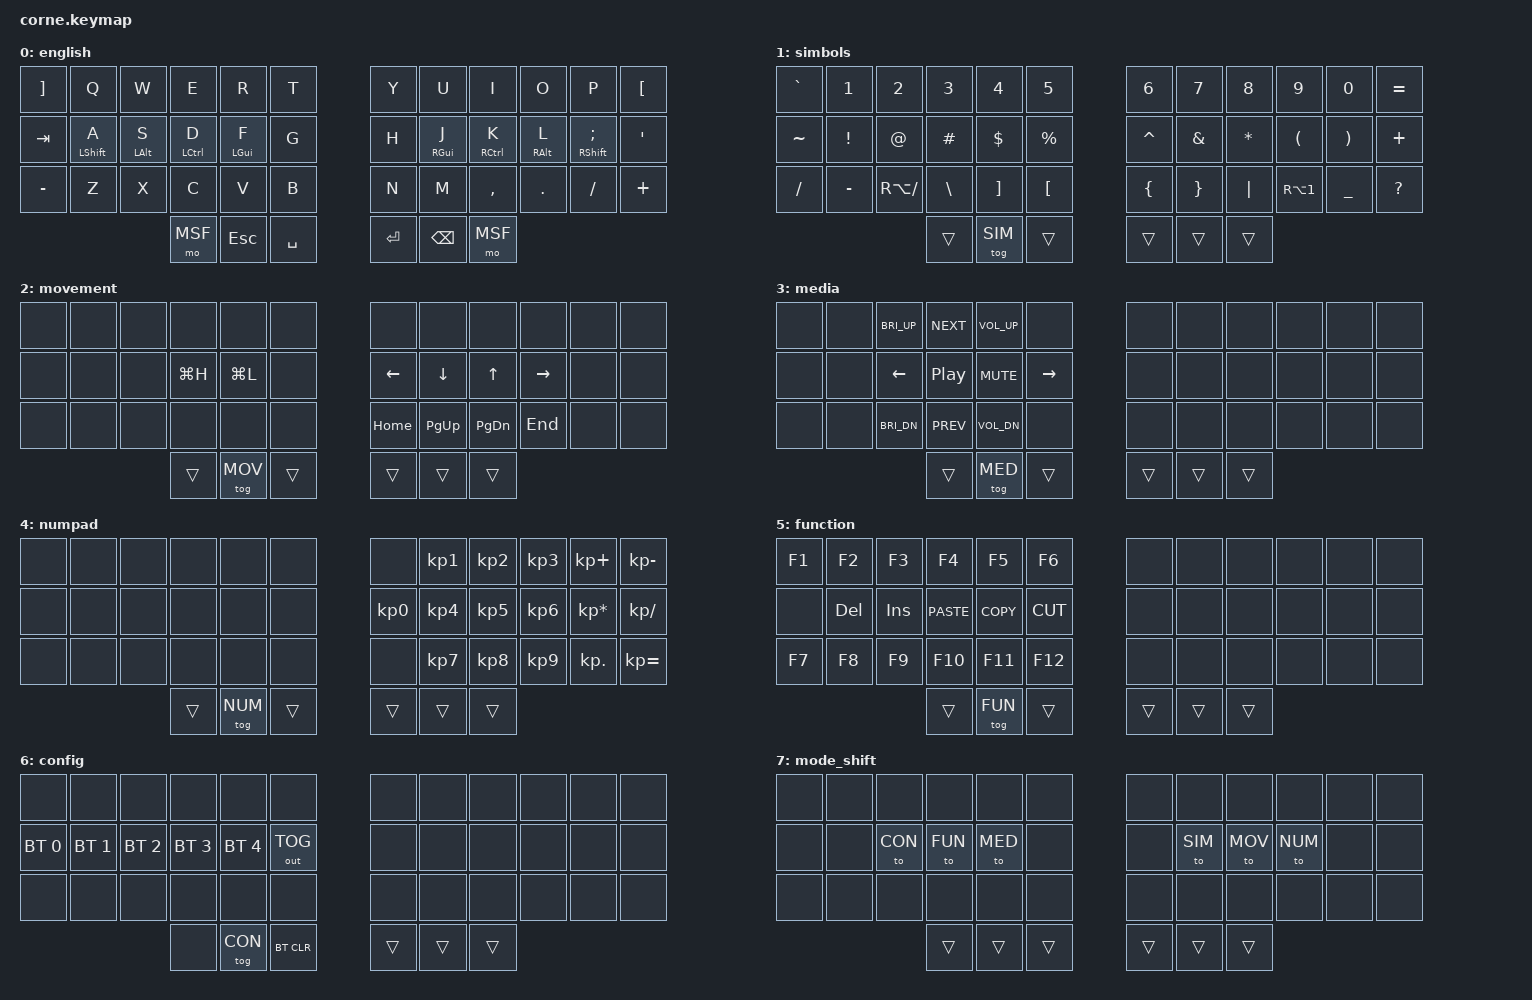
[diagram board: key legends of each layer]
/*
 * Copyright (c) 2020 The ZMK Contributors
 *
 * SPDX-License-Identifier: MIT
 */

#include <behaviors.dtsi>
#include <dt-bindings/zmk/keys.h>
#include <dt-bindings/zmk/bt.h>
#include <dt-bindings/zmk/pointing.h>
#include <dt-bindings/zmk/outputs.h>

#define TYP 0
#define SIM 1
#define MOV 2
#define MED 3
#define NUM 4
#define FUN 5
#define CON 6
#define MSF 7

&mt {
    tapping-term-ms = <200>;
    flavor = "tap-preferred";
};

/ {
        keymap {
                compatible = "zmk,keymap";

                english {
// -----------------------------------------------------------------------------------------
// |   -  |  Q  |  W  |  E  |  R  |  T  |   |  Y  |  U   |  I  |  O  |  P  |   +  |
// | TAB  |  A  |  S  |  D  |  F  |  G  |   |  H  |  J   |  K  |  L  |  ;  |  '   |
// | SHFT |  Z  |  X  |  C  |  V  |  B  |   |  N  |  M   |  ,  |  .  |  /  | SHFT |
//                    | GUI | LWR | SPC |   | ENT | RSE  | ALT |
                        bindings = <
   &kp RBKT  &kp Q &kp W &kp E &kp R &kp T   &kp Y &kp U  &kp I     &kp O   &kp P    &kp LBKT
   &kp TAB   &mt LSHFT A &mt LALT S &mt LCTRL D &mt LGUI F &kp G   &kp H &mt RGUI J  &mt RCTRL K  &mt RALT L   &mt RSHFT SEMI &kp SQT
   &kp MINUS &kp Z &kp X &kp C &kp V &kp B   &kp N &kp M  &kp COMMA &kp DOT &kp FSLH &kp PLUS
                 &mo MSF &kp ESC &kp SPACE   &kp RET &kp BSPC &mo MSF
                        >;
                };

                simbols {
// -----------------------------------------------------------------------------------------
// |  TAB |  1  |  2  |  3  |  4  |  5  |   |  6  |  7  |  8  |  9  |  0  | BSPC |
// | BTCLR| BT1 | BT2 | BT3 | BT4 | BT5 |   | LFT | DWN |  UP | RGT |     |      |
// | SHFT |     |     |     |     |     |   |     |     |     |     |     |      |
//                    | GUI |     | SPC |   | ENT |     | ALT |
                        bindings = <
   &kp GRAVE &kp N1    &kp N2        &kp N3   &kp N4   &kp N5      &kp N6    &kp N7   &kp N8   &kp N9     &kp N0    &kp EQUAL
   &kp TILDE &kp EXCL  &kp AT        &kp HASH &kp DLLR &kp PRCNT   &kp CARET &kp AMPS &kp STAR &kp LPAR   &kp RPAR  &kp PLUS
   &kp SLASH &kp MINUS &kp RA(SLASH) &kp BSLH &kp RBKT &kp LBKT    &kp LBRC  &kp RBRC &kp PIPE &kp RA(N1) &kp UNDER &kp QMARK
                                         &trans &tog SIM &trans    &trans &trans &trans
                        >;
                };

                movement {
// -----------------------------------------------------------------------------------------
// |  TAB |  1  |  2  |  3  |  4  |  5  |   |  6  |  7  |  8  |  9  |  0  | BSPC |
// | BTCLR| BT1 | BT2 | BT3 | BT4 | BT5 |   | LFT | DWN |  UP | RGT |     |      |
// | SHFT |     |     |     |     |     |   |     |     |     |     |     |      |
//                    | GUI |     | SPC |   | ENT |     | ALT |
                        bindings = <
   &none &none &none &none &none &none           &none          &none          &none        &none           &none &none
   &none &none &none &kp LG(H) &kp LG(L) &none   &kp LEFT       &kp DOWN       &kp UP       &kp RIGHT       &none &none
   &none &none &none &none &none &none           &kp HOME       &kp PG_UP      &kp PG_DN    &kp END         &none &none
                           &trans &tog MOV &trans     &trans &trans &trans
                        >;
                };

                media {
// -----------------------------------------------------------------------------------------
// |  TAB |  1  |  2  |  3  |  4  |  5  |   |  6  |  7  |  8  |  9  |  0  | BSPC |
// | BTCLR| BT1 | BT2 | BT3 | BT4 | BT5 |   | LFT | DWN |  UP | RGT |     |      |
// | SHFT |     |     |     |     |     |   |     |     |     |     |     |      |
//                    | GUI |     | SPC |   | ENT |     | ALT |
                        bindings = <
   &none &none &kp C_BRI_UP &kp C_NEXT &kp C_VOL_UP &none       &none &none &none &none &none &none
   &none &none &kp LEFT     &kp C_PP   &kp C_MUTE   &kp RIGHT   &none &none &none &none &none &none
   &none &none &kp C_BRI_DN &kp C_PREV &kp C_VOL_DN &none       &none &none &none &none &none &none
                                   &trans &tog MED &trans       &trans &trans &trans
                        >;
                };

                numpad {
// -----------------------------------------------------------------------------------------
// |  TAB |  1  |  2  |  3  |  4  |  5  |   |  6  |  7  |  8  |  9  |  0  | BSPC |
// | BTCLR| BT1 | BT2 | BT3 | BT4 | BT5 |   | LFT | DWN |  UP | RGT |     |      |
// | SHFT |     |     |     |     |     |   |     |     |     |     |     |      |
//                    | GUI |     | SPC |   | ENT |     | ALT |
                        bindings = <
   &none &none &none &none &none &none   &none     &kp KP_N1 &kp KP_N2 &kp KP_N3 &kp KP_PLUS     &kp KP_MINUS
   &none &none &none &none &none &none   &kp KP_N0 &kp KP_N4 &kp KP_N5 &kp KP_N6 &kp KP_MULTIPLY &kp KP_DIVIDE
   &none &none &none &none &none &none   &none     &kp KP_N7 &kp KP_N8 &kp KP_N9 &kp KP_DOT      &kp KP_EQUAL
                &trans &tog NUM &trans   &trans &trans &trans
                        >;
                };

                function {
// -----------------------------------------------------------------------------------------
// |  TAB |  1  |  2  |  3  |  4  |  5  |   |  6  |  7  |  8  |  9  |  0  | BSPC |
// | BTCLR| BT1 | BT2 | BT3 | BT4 | BT5 |   | LFT | DWN |  UP | RGT |     |      |
// | SHFT |     |     |     |     |     |   |     |     |     |     |     |      |
//                    | GUI |     | SPC |   | ENT |     | ALT |
                        bindings = <
   &kp F1 &kp F2 &kp F3 &kp F4 &kp F5 &kp F6                &none &none &none &none &none &none
   &none &kp DEL &kp INS &kp K_PASTE &kp K_COPY &kp K_CUT   &none &none &none &none &none &none
   &kp F7 &kp F8 &kp F9 &kp F10 &kp F11 &kp F12             &none &none &none &none &none &none
                           &trans &tog FUN &trans           &trans &trans &trans
                        >;
                };

                config {
// -----------------------------------------------------------------------------------------
// |  TAB |  1  |  2  |  3  |  4  |  5  |   |  6  |  7  |  8  |  9  |  0  | BSPC |
// | BTCLR| BT1 | BT2 | BT3 | BT4 | BT5 |   | LFT | DWN |  UP | RGT |     |      |
// | SHFT |     |     |     |     |     |   |     |     |     |     |     |      |
//                    | GUI |     | SPC |   | ENT |     | ALT |
                        bindings = <
   &none      &none        &none        &none        &none        &none    &none &none &none &none &none &none
   &bt BT_SEL 0 &bt BT_SEL 1 &bt BT_SEL 2 &bt BT_SEL 3 &bt BT_SEL 4 &out OUT_TOG    &none &none &none &none &none &none
   &none      &none        &none        &none        &none        &none    &none &none &none &none &none &none
                                                 &none &tog CON &bt BT_CLR    &trans &trans &trans
                        >;
                };

                mode_shift {
// -----------------------------------------------------------------------------------------
// |  TAB |  1  |  2  |  3  |  4  |  5  |   |  6  |  7  |  8  |  9  |  0  | BSPC |
// | BTCLR| BT1 | BT2 | BT3 | BT4 | BT5 |   | LFT | DWN |  UP | RGT |     |      |
// | SHFT |     |     |     |     |     |   |     |     |     |     |     |      |
//                    | GUI |     | SPC |   | ENT |     | ALT |
                        bindings = <
   &none &none &none &none &none &none   &none &none &none &none &none &none
   &none &none &to CON &to FUN &to MED &none   &none &to SIM &to MOV &to NUM &none &none
   &none &none &none &none &none &none   &none &none &none &none &none &none
                  &trans &trans &trans   &trans &trans &trans
                        >;
                };

        };
};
